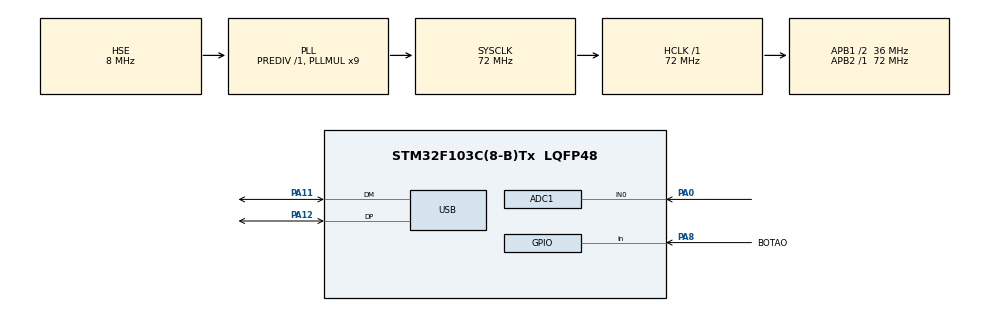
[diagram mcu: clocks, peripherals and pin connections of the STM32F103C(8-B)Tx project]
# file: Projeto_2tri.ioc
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ADC1.Channel-0\#ChannelRegularConversion=ADC_CHANNEL_0
ADC1.NbrOfConversionFlag=1
ADC1.Rank-0\#ChannelRegularConversion=1
ADC1.SamplingTime-0\#ChannelRegularConversion=ADC_SAMPLETIME_1CYCLE_5
ADC1.master=1
Mcu.Family=STM32F1
Mcu.Name=STM32F103C(8-B)Tx
Mcu.Package=LQFP48
NVIC.PriorityGroup=NVIC_PRIORITYGROUP_4
NVIC.USB_LP_CAN1_RX0_IRQn=true\:0\:0\:false\:false\:true\:false\:true
PA0-WKUP.Signal=ADCx_IN0
PA11.Mode=Device
PA11.Signal=USB_DM
PA12.Mode=Device
PA12.Signal=USB_DP
PA13.Mode=Serial_Wire
PA13.Signal=SYS_JTMS-SWDIO
PA14.Mode=Serial_Wire
PA14.Signal=SYS_JTCK-SWCLK
PA8.GPIO_Label=BOTAO
PA8.GPIO_PuPd=GPIO_PULLUP
PA8.Signal=GPIO_Input
PD0-OSC_IN.Mode=HSE-External-Oscillator
PD0-OSC_IN.Signal=RCC_OSC_IN
PD1-OSC_OUT.Mode=HSE-External-Oscillator
PD1-OSC_OUT.Signal=RCC_OSC_OUT
ProjectManager.HeapSize=0x200
ProjectManager.StackSize=0x400
ProjectManager.TargetToolchain=STM32CubeIDE
RCC.ADCPresc=RCC_ADCPCLK2_DIV6
RCC.AHBFreq_Value=72000000
RCC.APB1CLKDivider=RCC_HCLK_DIV2
RCC.APB1Freq_Value=36000000
RCC.APB1TimFreq_Value=72000000
RCC.APB2Freq_Value=72000000
RCC.APB2TimFreq_Value=72000000
RCC.HCLKFreq_Value=72000000
RCC.PLLMUL=RCC_PLL_MUL9
RCC.SYSCLKFreq_VALUE=72000000
RCC.SYSCLKSource=RCC_SYSCLKSOURCE_PLLCLK
RCC.USBFreq_Value=48000000
RCC.USBPrescaler=RCC_USBCLKSOURCE_PLL_DIV1_5
SH.ADCx_IN0.0=ADC1_IN0,IN0
USB_DEVICE.CLASS_NAME_FS=CDC
USB_DEVICE.VirtualMode=Cdc
USB_DEVICE.VirtualModeFS=Cdc_FS
VP_USB_DEVICE_VS_USB_DEVICE_CDC_FS.Mode=CDC_FS
board=custom

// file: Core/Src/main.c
/* USER CODE BEGIN Header */
/**
  ******************************************************************************
  * @file           : main.c
  * @brief          : Main program body
  ******************************************************************************
  * @attention
  *
  * <h2><center>&copy; Copyright (c) 2026 STMicroelectronics.
  * All rights reserved.</center></h2>
  *
  * This software component is licensed by ST under BSD 3-Clause license,
  * the "License"; You may not use this file except in compliance with the
  * License. You may obtain a copy of the License at:
  *                        opensource.org/licenses/BSD-3-Clause
  *
  ******************************************************************************
  */
/* USER CODE END Header */
#include "main.h"
#include "usb_device.h"

/* USER CODE BEGIN Includes */
#include <stdio.h>
#include "usbd_cdc_if.h"
/* USER CODE END Includes */

ADC_HandleTypeDef hadc1;

/* USER CODE BEGIN PV */

int valorADC = 0;
int valorEnviado = 0;

int tamanhoMensagem = 0;

float filtro = 0.0f;
float alpha = 0.3f;
int primeiraLeitura = 1;

char msg[50];

/* USER CODE END PV */

void SystemClock_Config(void);
static void MX_GPIO_Init(void);
static void MX_ADC1_Init(void);
/* USER CODE BEGIN PFP */
float PassaBaixa(int entrada);
/* USER CODE END PFP */

int main(void)
{

  /* MCU Configuration--------------------------------------------------------*/

  /* Reset of all peripherals, Initializes the Flash interface and the Systick. */
  HAL_Init();

  /* Configure the system clock */
  SystemClock_Config();

  /* Initialize all configured peripherals */
  MX_GPIO_Init();
  MX_ADC1_Init();
  MX_USB_DEVICE_Init();
  /* USER CODE BEGIN 2 */
  if (HAL_ADCEx_Calibration_Start(&hadc1) != HAL_OK)
  {
      Error_Handler();
  }

  /* Aguarda o computador reconhecer o USB CDC. */
  HAL_Delay(1000);
  /* USER CODE END 2 */

  /* Infinite loop */
  /* USER CODE BEGIN WHILE */
  while (1)
  {
      if (HAL_ADC_Start(&hadc1) == HAL_OK)
      {
          if (HAL_ADC_PollForConversion(&hadc1, 100) == HAL_OK)
          {
              /* Leitura original do trimpot conectado ao PA0. */
              valorADC = (int)HAL_ADC_GetValue(&hadc1);
          }
      }

      HAL_ADC_Stop(&hadc1);

      /*
       * Botão pressionado: envia o valor filtrado.
       * Botão solto: envia a leitura original.
       */
      if (HAL_GPIO_ReadPin(BOTAO_GPIO_Port, BOTAO_Pin) == GPIO_PIN_RESET)
      {
          valorEnviado = (int)PassaBaixa(valorADC);
      }
      else
      {
          valorEnviado = valorADC;
      }

      tamanhoMensagem = snprintf(msg, sizeof(msg), "%d\r\n", valorEnviado);

      if (tamanhoMensagem > 0)
      {
          CDC_Transmit_FS((uint8_t *)msg,(uint16_t)tamanhoMensagem);
      }

      HAL_Delay(200);

      /* USER CODE END WHILE */

  }
}

void SystemClock_Config(void)
{
  RCC_OscInitTypeDef RCC_OscInitStruct = {0};
  RCC_ClkInitTypeDef RCC_ClkInitStruct = {0};
  RCC_PeriphCLKInitTypeDef PeriphClkInit = {0};

  /** Initializes the RCC Oscillators according to the specified parameters
  * in the RCC_OscInitTypeDef structure.
  */
  RCC_OscInitStruct.OscillatorType = RCC_OSCILLATORTYPE_HSE;
  RCC_OscInitStruct.HSEState = RCC_HSE_ON;
  RCC_OscInitStruct.HSEPredivValue = RCC_HSE_PREDIV_DIV1;
  RCC_OscInitStruct.HSIState = RCC_HSI_ON;
  RCC_OscInitStruct.PLL.PLLState = RCC_PLL_ON;
  RCC_OscInitStruct.PLL.PLLSource = RCC_PLLSOURCE_HSE;
  RCC_OscInitStruct.PLL.PLLMUL = RCC_PLL_MUL9;
  if (HAL_RCC_OscConfig(&RCC_OscInitStruct) != HAL_OK)
  {
    Error_Handler();
  }
  /** Initializes the CPU, AHB and APB buses clocks
  */
  RCC_ClkInitStruct.ClockType = RCC_CLOCKTYPE_HCLK|RCC_CLOCKTYPE_SYSCLK
                              |RCC_CLOCKTYPE_PCLK1|RCC_CLOCKTYPE_PCLK2;
  RCC_ClkInitStruct.SYSCLKSource = RCC_SYSCLKSOURCE_PLLCLK;
  RCC_ClkInitStruct.AHBCLKDivider = RCC_SYSCLK_DIV1;
  RCC_ClkInitStruct.APB1CLKDivider = RCC_HCLK_DIV2;
  RCC_ClkInitStruct.APB2CLKDivider = RCC_HCLK_DIV1;

  if (HAL_RCC_ClockConfig(&RCC_ClkInitStruct, FLASH_LATENCY_2) != HAL_OK)
  {
    Error_Handler();
  }
  PeriphClkInit.PeriphClockSelection = RCC_PERIPHCLK_ADC|RCC_PERIPHCLK_USB;
  PeriphClkInit.AdcClockSelection = RCC_ADCPCLK2_DIV6;
  PeriphClkInit.UsbClockSelection = RCC_USBCLKSOURCE_PLL_DIV1_5;
  if (HAL_RCCEx_PeriphCLKConfig(&PeriphClkInit) != HAL_OK)
  {
    Error_Handler();
  }
}

static void MX_ADC1_Init(void)
{

  ADC_ChannelConfTypeDef sConfig = {0};

  /** Common config
  */
  hadc1.Instance = ADC1;
  hadc1.Init.ScanConvMode = ADC_SCAN_DISABLE;
  hadc1.Init.ContinuousConvMode = DISABLE;
  hadc1.Init.DiscontinuousConvMode = DISABLE;
  hadc1.Init.ExternalTrigConv = ADC_SOFTWARE_START;
  hadc1.Init.DataAlign = ADC_DATAALIGN_RIGHT;
  hadc1.Init.NbrOfConversion = 1;
  if (HAL_ADC_Init(&hadc1) != HAL_OK)
  {
    Error_Handler();
  }
  /** Configure Regular Channel
  */
  sConfig.Channel = ADC_CHANNEL_0;
  sConfig.Rank = ADC_REGULAR_RANK_1;
  sConfig.SamplingTime = ADC_SAMPLETIME_1CYCLE_5;
  if (HAL_ADC_ConfigChannel(&hadc1, &sConfig) != HAL_OK)
  {
    Error_Handler();
  }

}

static void MX_GPIO_Init(void)
{
  GPIO_InitTypeDef GPIO_InitStruct = {0};

  /* GPIO Ports Clock Enable */
  __HAL_RCC_GPIOD_CLK_ENABLE();
  __HAL_RCC_GPIOA_CLK_ENABLE();

  /*Configure GPIO pin : BOTAO_Pin */
  GPIO_InitStruct.Pin = BOTAO_Pin;
  GPIO_InitStruct.Mode = GPIO_MODE_INPUT;
  GPIO_InitStruct.Pull = GPIO_PULLUP;
  HAL_GPIO_Init(BOTAO_GPIO_Port, &GPIO_InitStruct);

}

/* USER CODE BEGIN 4 */
float PassaBaixa(int entrada)
{
    if (primeiraLeitura == 1)
    {
        filtro = entrada;
        primeiraLeitura = 0;
    }
    else
    {
        filtro = filtro + alpha * (entrada - filtro);
    }

    return filtro;
}
/* USER CODE END 4 */

void Error_Handler(void)
{
  __disable_irq();
  while (1)
  {
  }
}

/************************ (C) COPYRIGHT STMicroelectronics *****END OF FILE****/
